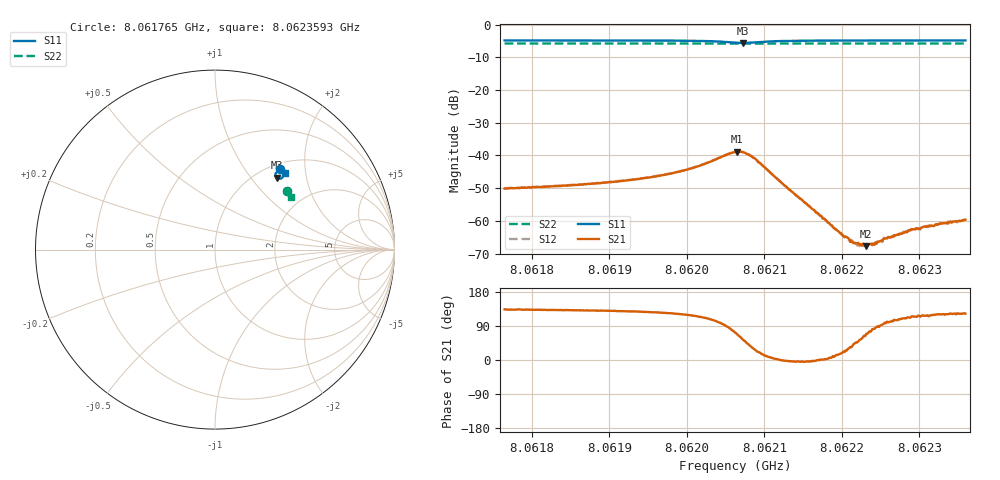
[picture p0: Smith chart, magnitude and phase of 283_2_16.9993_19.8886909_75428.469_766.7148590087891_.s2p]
#  HZ  S  RI  R  50.00
! Rohde & Schwarz Vector Network Analyzer
! Rohde-Schwarz,ZNB20-2Port,1311601062101988,3.16
! Created: UTC 3/20/2024, 11:04:46 PM
! freq[Hz]  re:S11  im:S11  re:S21  im:S21  re:S12  im:S12  re:S22  im:S22
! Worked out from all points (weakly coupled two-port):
!   401 points, 8.061765 GHz to 8.0623593 GHz, reference 50 ohm
!   highest |S21| = -38.80 dB at 8.0620651 GHz (marker M1); lowest = -67.7 dB at 8.0622315 GHz (marker M2)
!   lowest |S11| = -5.5 dB at 8.0620725 GHz (marker M3), VSWR 3.24, Z = 61.2 + j67.8 ohm
!   |S11| at or under -10 dB: nowhere
!   |S22| runs from -5.8 to -5.7 dB; largest |S21 - S12| = 0.00083
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8.06176495e9  0.3621 0.4479  -0.00215 0.00226  -0.00199 0.00238  0.4034 0.3252
8.06186451e9  0.3692 0.4416  -0.00236 0.00271  -0.00222 0.00288  0.4072 0.3202
8.06191949e9  0.3734 0.4371  -0.00259 0.00322  -0.00238 0.00338  0.4093 0.3173
8.06196406e9  0.3774 0.4319  -0.00282 0.00398  -0.00259 0.00417  0.411 0.315
8.06199229e9  0.3801 0.4266  -0.00294 0.00491  -0.00271 0.00515  0.4119 0.3133
8.0620131e9  0.3817 0.4205  -0.0029 0.00609  -0.00255 0.00632  0.4126 0.312
8.06206213e9  0.3594 0.3944  0.0034 0.0107  0.00415 0.0106  0.413 0.3087
8.0620651e9  0.355 0.3949  0.00441 0.0106  0.005 0.0104  0.4128 0.3087
8.06207253e9  0.3446 0.3999  0.00666 0.00899  0.00725 0.00874  0.4127 0.3088
8.06207996e9  0.3381 0.4095  0.00775 0.00668  0.00838 0.00616  0.4128 0.309
8.06208739e9  0.3371 0.4199  0.00804 0.00425  0.00807 0.00363  0.413 0.309
8.06212454e9  0.3559 0.4391  0.00362 -7.39e-05  0.00363 -0.000344  0.4156 0.3081
8.06216169e9  0.367 0.4387  0.00152 -6.01e-05  0.00154 -0.000181  0.4173 0.3059
8.06220032e9  0.3735 0.4361  0.000578 0.000193  0.000597 0.000165  0.419 0.3039
8.06221221e9  0.375 0.4352  0.000413 0.000274  0.000418 0.000282  0.4192 0.3032
8.06221964e9  0.3758 0.4348  0.000312 0.000326  0.000321 0.00027  0.4195 0.3027
8.06223152e9  0.3771 0.4341  0.000146 0.000384  0.000174 0.000375  0.4201 0.3021
8.06224193e9  0.3781 0.4335  5.83e-05 0.000425  0.000102 0.00043  0.4204 0.3017
8.06226124e9  0.3799 0.4322  -0.000104 0.000554  -5.51e-05 0.000557  0.4212 0.3006
8.06228947e9  0.3824 0.4305  -0.000304 0.000663  -0.00026 0.000706  0.4222 0.2991
8.06232959e9  0.3853 0.4281  -0.000471 0.000784  -0.000422 0.000789  0.4237 0.2971
8.06235931e9  0.3874 0.4265  -0.000557 0.000879  -0.000531 0.000918  0.4247 0.2954
